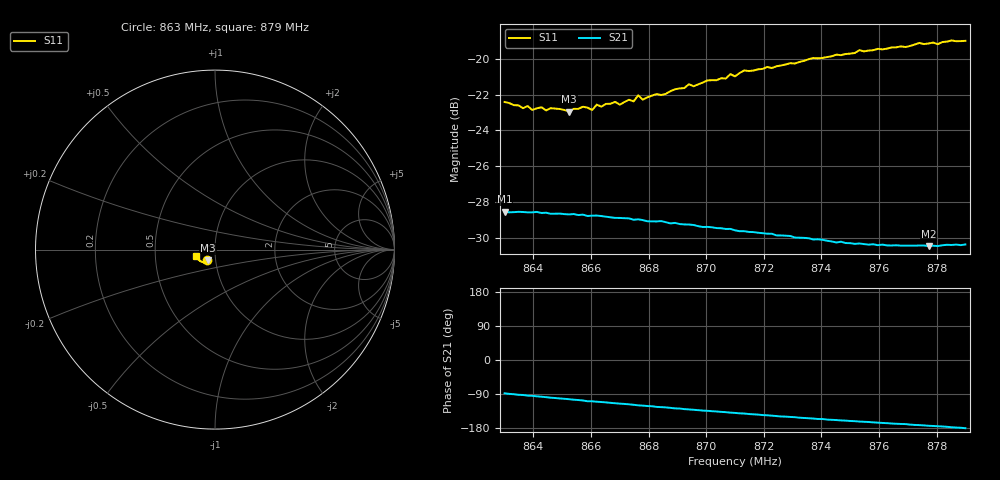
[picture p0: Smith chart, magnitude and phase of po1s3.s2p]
# HZ S RI R 50
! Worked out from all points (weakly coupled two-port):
!   101 points, 863 MHz to 879 MHz, reference 50 ohm
!   highest |S21| = -28.55 dB at 863 MHz (marker M1); lowest = -30.5 dB at 877.72 MHz (marker M2)
!   lowest |S11| = -22.9 dB at 865.24 MHz (marker M3), VSWR 1.15, Z = 45.9 - j5.49 ohm
!   |S11| at or under -10 dB: start of sweep to end of sweep
!   S12 and S22 are empty: the file has one direction only
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8.63e8  -0.0457 -0.0603  0.00138 -0.0373  0 0  0 0
8.638e8  -0.0432 -0.0598  -0.00265 -0.0371  0 0  0 0
8.6396e8  -0.0409 -0.0592  -0.00291 -0.0371  0 0  0 0
8.6428e8  -0.0413 -0.0604  -0.00443 -0.0368  0 0  0 0
8.6524e8  -0.0392 -0.0595  -0.00855 -0.0357  0 0  0 0
8.6572e8  -0.039 -0.0622  -0.0106 -0.0351  0 0  0 0
8.6604e8  -0.0385 -0.0607  -0.0118 -0.0344  0 0  0 0
8.662e8  -0.0409 -0.0622  -0.0125 -0.0342  0 0  0 0
8.6748e8  -0.0393 -0.0651  -0.0168 -0.0312  0 0  0 0
8.6764e8  -0.0417 -0.0672  -0.0176 -0.0309  0 0  0 0
8.678e8  -0.0414 -0.0648  -0.0179 -0.0305  0 0  0 0
8.6844e8  -0.0423 -0.067  -0.0198 -0.029  0 0  0 0
8.694e8  -0.0464 -0.0712  -0.0223 -0.0262  0 0  0 0
8.6956e8  -0.0474 -0.0691  -0.0226 -0.0257  0 0  0 0
8.7068e8  -0.0519 -0.0712  -0.0247 -0.0225  0 0  0 0
8.7084e8  -0.0561 -0.0712  -0.0252 -0.022  0 0  0 0
8.71e8  -0.0544 -0.0708  -0.0252 -0.0214  0 0  0 0
8.7132e8  -0.0579 -0.0725  -0.0257 -0.0206  0 0  0 0
8.7372e8  -0.0734 -0.0687  -0.0282 -0.0134  0 0  0 0
8.7644e8  -0.0925 -0.0551  -0.0293 -0.00644  0 0  0 0
8.7772e8  -0.1004 -0.0459  -0.0297 -0.00336  0 0  0 0
8.79e8  -0.1067 -0.035  -0.0302 -6e-06  0 0  0 0
